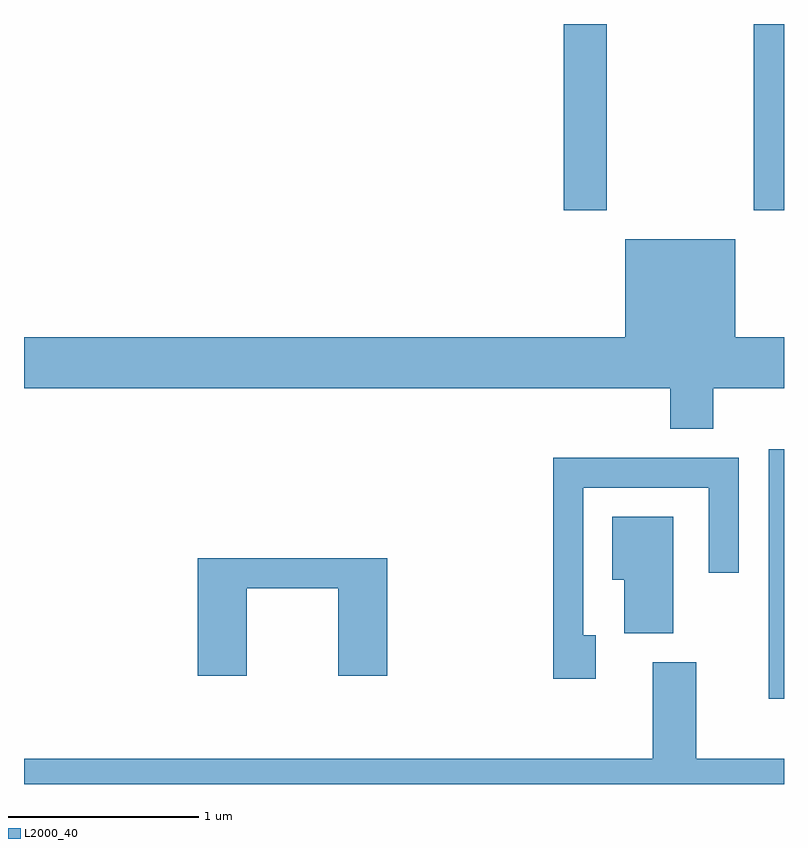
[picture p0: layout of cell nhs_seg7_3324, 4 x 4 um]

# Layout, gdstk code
import gdstk
lib = gdstk.Library(unit=1e-6, precision=1e-09)
def R(c, l, rs):  # rectangles x0, y0, x1, y1
    for r in rs: c.add(gdstk.rectangle(r[:2], r[2:], *l))
def P(c, l, *ps):  # polygons
    for p in ps: c.add(gdstk.Polygon(p, *l))
L2000_40 = (2000, 40)

nhs_seg7_3324 = lib.new_cell('nhs_seg7_3324')
R(nhs_seg7_3324, L2000_40, [(291.531,1692.701,291.611,1694.014), (290.451,1695.271,290.679,1696.252), (291.451,1695.271,291.611,1696.252)])
P(nhs_seg7_3324, L2000_40, [(291.239,1694.336),(291.611,1694.336),(291.611,1694.604),(291.354,1694.604),(291.354,1695.119),(290.776,1695.119),(290.776,1694.604),(287.611,1694.604),(287.611,1694.336),(291.011,1694.336),(291.011,1694.121),(291.239,1694.121)],
  [(290.619,1693.034),(290.554,1693.034),(290.554,1693.811),(291.216,1693.811),(291.216,1693.363),(291.374,1693.363),(291.374,1693.969),(290.396,1693.969),(290.396,1692.806),(290.619,1692.806)],
  [(291.029,1693.659),(290.706,1693.659),(290.706,1693.326),(290.771,1693.326),(290.771,1693.046),(291.029,1693.046)],
  [(288.784,1693.281),(289.266,1693.281),(289.266,1692.821),(289.524,1692.821),(289.524,1693.439),(288.526,1693.439),(288.526,1692.821),(288.784,1692.821)],
  [(291.611,1692.384),(291.149,1692.384),(291.149,1692.894),(290.921,1692.894),(290.921,1692.384),(287.611,1692.384),(287.611,1692.252),(291.611,1692.252)])

lib.write_gds('nhs_seg7_3324.gds')
